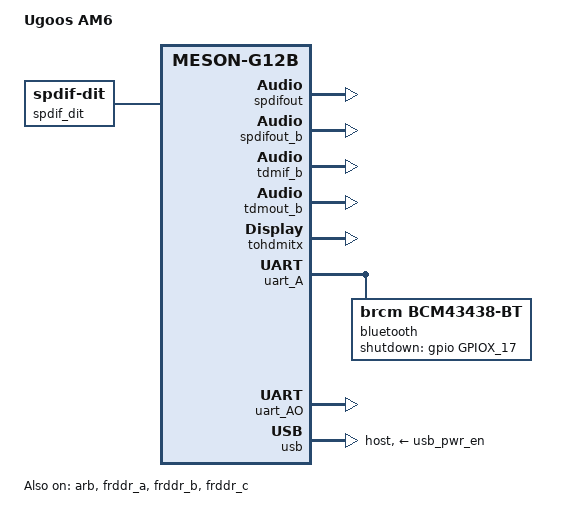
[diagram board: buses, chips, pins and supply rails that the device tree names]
// SPDX-License-Identifier: (GPL-2.0+ OR MIT)
/*
 * Copyright (c) 2019 BayLibre, SAS
 * Author: Neil Armstrong <narmstrong@baylibre.com>
 * Copyright (c) 2019 Christian Hewitt <christianshewitt@gmail.com>
 */

/dts-v1/;

#include "meson-g12b-w400.dtsi"
#include <dt-bindings/sound/meson-g12a-tohdmitx.h>

/ {
	compatible = "ugoos,am6", "amlogic,s922x", "amlogic,g12b";
	model = "Ugoos AM6";

	spdif_dit: audio-codec-1 {
		#sound-dai-cells = <0>;
		compatible = "linux,spdif-dit";
		status = "okay";
		sound-name-prefix = "DIT";
	};

	sound {
		compatible = "amlogic,axg-sound-card";
		model = "UGOOS-AM6";
		audio-aux-devs = <&tdmout_b>;
		audio-routing = "TDMOUT_B IN 0", "FRDDR_A OUT 1",
				"TDMOUT_B IN 1", "FRDDR_B OUT 1",
				"TDMOUT_B IN 2", "FRDDR_C OUT 1",
				"TDM_B Playback", "TDMOUT_B OUT",
				"SPDIFOUT IN 0", "FRDDR_A OUT 3",
				"SPDIFOUT IN 1", "FRDDR_B OUT 3",
				"SPDIFOUT IN 2", "FRDDR_C OUT 3";

		assigned-clocks = <&clkc CLKID_MPLL2>,
				  <&clkc CLKID_MPLL0>,
				  <&clkc CLKID_MPLL1>;
		assigned-clock-parents = <0>, <0>, <0>;
		assigned-clock-rates = <294912000>,
				       <270950400>,
				       <393216000>;
		status = "okay";

		dai-link-0 {
			sound-dai = <&frddr_a>;
		};

		dai-link-1 {
			sound-dai = <&frddr_b>;
		};

		dai-link-2 {
			sound-dai = <&frddr_c>;
		};

		/* 8ch hdmi interface */
		dai-link-3 {
			sound-dai = <&tdmif_b>;
			dai-format = "i2s";
			dai-tdm-slot-tx-mask-0 = <1 1>;
			dai-tdm-slot-tx-mask-1 = <1 1>;
			dai-tdm-slot-tx-mask-2 = <1 1>;
			dai-tdm-slot-tx-mask-3 = <1 1>;
			mclk-fs = <256>;

			codec {
				sound-dai = <&tohdmitx TOHDMITX_I2S_IN_B>;
			};
		};

		/* spdif hdmi or toslink interface */
		dai-link-4 {
			sound-dai = <&spdifout>;

			codec-0 {
				sound-dai = <&spdif_dit>;
			};

			codec-1 {
				sound-dai = <&tohdmitx TOHDMITX_SPDIF_IN_A>;
			};
		};

		/* spdif hdmi interface */
		dai-link-5 {
			sound-dai = <&spdifout_b>;

			codec {
				sound-dai = <&tohdmitx TOHDMITX_SPDIF_IN_B>;
			};
		};

		/* hdmi glue */
		dai-link-6 {
			sound-dai = <&tohdmitx TOHDMITX_I2S_OUT>;

			codec {
				sound-dai = <&hdmi_tx>;
			};
		};
	};
};

&arb {
	status = "okay";
};

&clkc_audio {
	status = "okay";
};

&frddr_a {
	status = "okay";
};

&frddr_b {
	status = "okay";
};

&frddr_c {
	status = "okay";
};

&ir {
	linux,rc-map-name = "rc-khadas";
};

&spdifout {
	pinctrl-0 = <&spdif_out_h_pins>;
	pinctrl-names = "default";
	status = "okay";
};

&spdifout_b {
	status = "okay";
};

&tdmif_b {
	status = "okay";
};

&tdmout_b {
	status = "okay";
};

&tohdmitx {
	status = "okay";
};

&uart_A {
	status = "okay";
	pinctrl-0 = <&uart_a_pins>, <&uart_a_cts_rts_pins>;
	pinctrl-names = "default";
	uart-has-rtscts;

	bluetooth {
		compatible = "brcm,bcm43438-bt";
		shutdown-gpios = <&gpio GPIOX_17 GPIO_ACTIVE_HIGH>;
		max-speed = <2000000>;
		clocks = <&wifi32k>;
	clock-names = "lpo";
	};
};

&uart_AO {
	status = "okay";
	pinctrl-0 = <&uart_ao_a_pins>;
	pinctrl-names = "default";
};

&usb {
	status = "okay";
	dr_mode = "host";
	vbus-supply = <&usb_pwr_en>;
};

&usb2_phy0 {
	phy-supply = <&usb1_pow>;
};

&usb2_phy1 {
	phy-supply = <&usb1_pow>;
};
